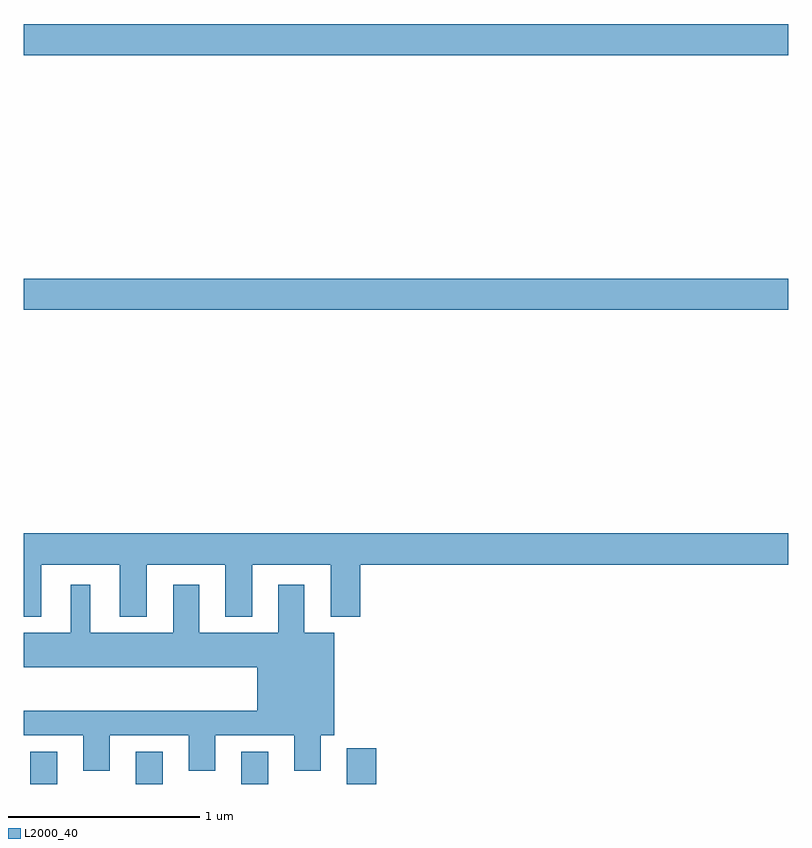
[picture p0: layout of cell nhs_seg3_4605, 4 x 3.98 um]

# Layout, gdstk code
import gdstk
lib = gdstk.Library(unit=1e-6, precision=1e-09)
def R(c, l, rs):  # rectangles x0, y0, x1, y1
    for r in rs: c.add(gdstk.rectangle(r[:2], r[2:], *l))
def A(c, l, x, y, w, h, nx, ny, dx, dy):  # array of equal rectangles
    R(c, l, [(x+i*dx, y+j*dy, x+i*dx+w, y+j*dy+h) for i in range(nx) for j in range(ny)])
def P(c, l, *ps):  # polygons
    for p in ps: c.add(gdstk.Polygon(p, *l))
L2000_40 = (2000, 40)

nhs_seg3_4605 = lib.new_cell('nhs_seg3_4605')
A(nhs_seg3_4605, L2000_40, 357.035, 734.4, 0.14, 0.169, 3, 1, 0.552, 0)
R(nhs_seg3_4605, L2000_40, [(358.691,734.4,358.844,734.587), (357,736.88,361,737.044), (357,738.212,361,738.376)])
P(nhs_seg3_4605, L2000_40, [(357.091,735.548),(357.503,735.548),(357.503,735.275),(357.643,735.275),(357.643,735.548),(358.055,735.548),(358.055,735.275),(358.195,735.275),(358.195,735.548),(358.607,735.548),(358.607,735.275),(358.76,735.275),(358.76,735.548),(361,735.548),(361,735.712),(357,735.712),(357,735.275),(357.091,735.275)],
  [(357.451,734.654),(357.863,734.654),(357.863,734.469),(358.003,734.469),(358.003,734.654),(358.415,734.654),(358.415,734.469),(358.555,734.469),(358.555,734.654),(358.624,734.654),(358.624,735.19),(358.468,735.19),(358.468,735.442),(358.331,735.442),(358.331,735.19),(357.919,735.19),(357.919,735.442),(357.782,735.442),(357.782,735.19),(357.349,735.19),(357.349,735.442),(357.245,735.442),(357.245,735.19),(357,735.19),(357,735.011),(358.223,735.011),(358.223,734.782),(357,734.782),(357,734.654),(357.311,734.654),(357.311,734.469),(357.451,734.469)])

lib.write_gds('nhs_seg3_4605.gds')
